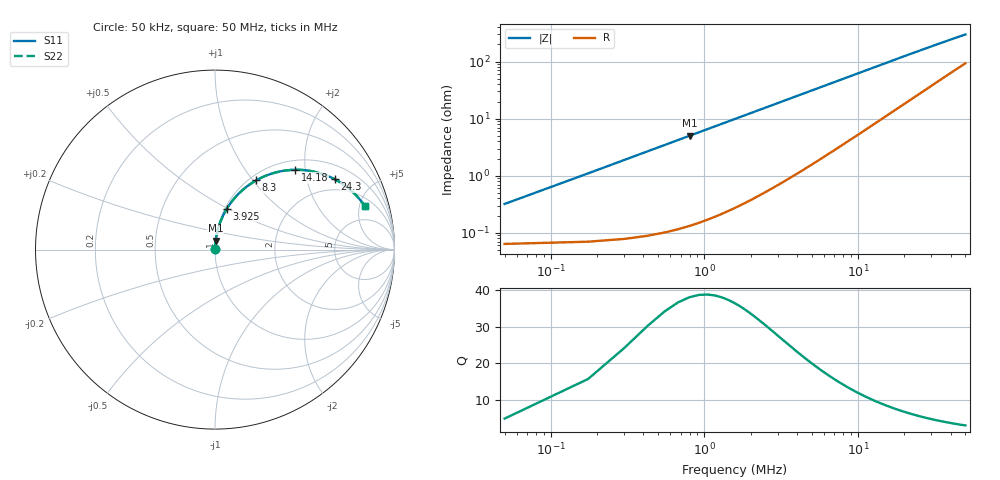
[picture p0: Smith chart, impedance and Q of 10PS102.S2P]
! Coilcraft 1008PS-102 Power Chip Inductor
! 7 October 2002
# MHZ S MA R 50
!Freq  MagS11  AngS11  MagS21  AngS21  MagS12  AngS12  MagS22  AngS22
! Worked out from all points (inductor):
!   401 points, 50 kHz to 50 MHz, reference 50 ohm
!   read as one part in series: L = 1 uH near 300 kHz
!   highest Q = 38 at 800 kHz (marker M1), where L = 1 uH
!   S11 on the Smith chart (normalised r, x): 50 kHz: 1.00, +0.01; 3.925 MHz: 1.02, +0.49; 8.3 MHz: 1.08, +1.04; 14.18 MHz: 1.20, +1.76; 24.3 MHz: 1.52, +2.97; 50 MHz: 2.86, +5.68
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0.05  0.003204 78.3  0.9994 -0.2  0.9994 -0.2  0.003204 78.3
0.175  0.01101 85.7  0.9992 -0.6  0.9992 -0.6  0.01101 85.7
0.425  0.02671 86.6  0.9988 -1.5  0.9988 -1.5  0.02671 86.6
0.55  0.03455 86.3  0.9984 -2.0  0.9984 -2.0  0.03455 86.3
0.8  0.0502 85.6  0.9974 -2.9  0.9974 -2.9  0.0502 85.6
1.05  0.0658 84.8  0.9961 -3.8  0.9961 -3.8  0.0658 84.8
1.3  0.08133 83.8  0.9945 -4.7  0.9945 -4.7  0.08133 83.8
1.925  0.1198 81.4  0.9893 -6.9  0.9893 -6.9  0.1198 81.4
2.8  0.1724 78.1  0.979 -9.9  0.979 -9.9  0.1724 78.1
3.925  0.2372 73.8  0.9614 -13.7  0.9614 -13.7  0.2372 73.8
5.8  0.3364 67.2  0.9232 -19.6  0.9232 -19.6  0.3364 67.2
8.3  0.4489 59.3  0.8617 -26.6  0.8617 -26.6  0.4489 59.3
8.425  0.4539 58.9  0.8585 -26.9  0.8585 -26.9  0.4539 58.9
11.05  0.5466 51.8  0.7894 -33.0  0.7894 -33.0  0.5466 51.8
14.175  0.6298 44.9  0.7104 -38.8  0.7104 -38.8  0.6298 44.9
16.8  0.6818 40.2  0.6502 -42.6  0.6502 -42.6  0.6818 40.2
20.425  0.7346 34.9  0.578 -46.6  0.578 -46.6  0.7346 34.9
24.3  0.7741 30.4  0.5139 -49.7  0.5139 -49.7  0.7741 30.4
25.05  0.7803 29.7  0.5029 -50.2  0.5029 -50.2  0.7803 29.7
33.425  0.8286 23.2  0.4042 -53.9  0.4042 -53.9  0.8286 23.2
41.675  0.8544 19.0  0.3383 -55.4  0.3383 -55.4  0.8544 19.0
50  0.8702 16.1  0.2911 -55.8  0.2911 -55.8  0.8702 16.1
